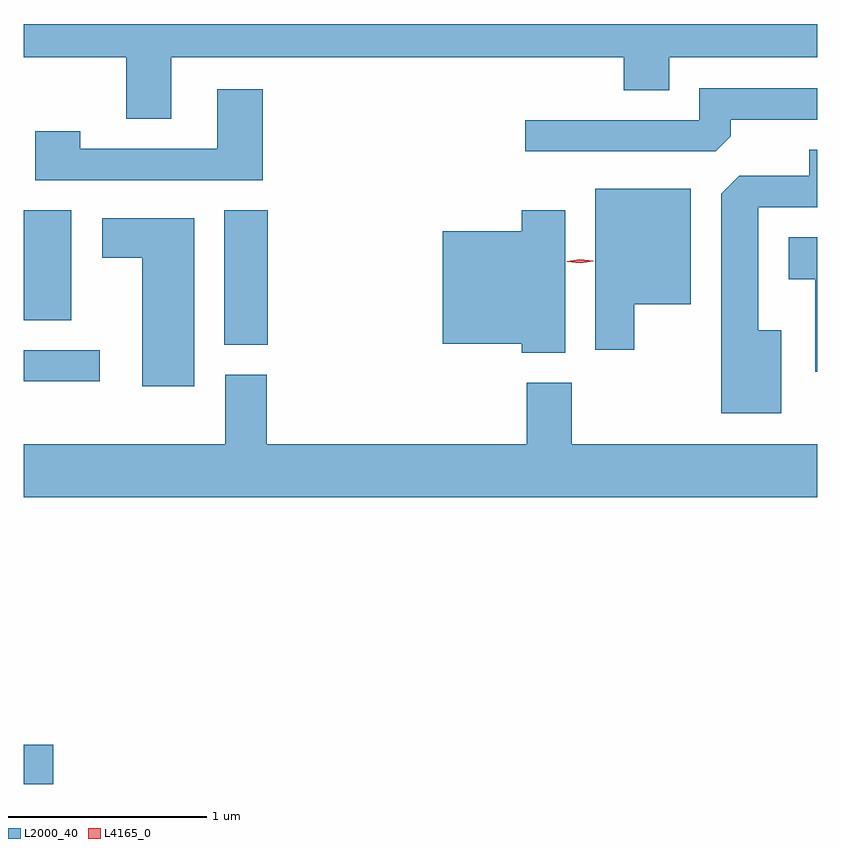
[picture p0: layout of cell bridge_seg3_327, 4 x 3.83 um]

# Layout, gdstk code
import gdstk
lib = gdstk.Library(unit=1e-6, precision=1e-09)
def R(c, l, rs):  # rectangles x0, y0, x1, y1
    for r in rs: c.add(gdstk.rectangle(r[:2], r[2:], *l))
def P(c, l, *ps):  # polygons
    for p in ps: c.add(gdstk.Polygon(p, *l))
L2000_40 = (2000, 40)
L4165_0 = (4165, 0)

bridge_seg3_327 = lib.new_cell('bridge_seg3_327')
R(bridge_seg3_327, L2000_40, [(540.605,1162.311,540.754,1162.509), (540.605,1164.341,540.988,1164.499), (541.616,1164.526,541.834,1165.204), (540.605,1164.651,540.844,1165.204)])
P(bridge_seg3_327, L2000_40, [(540.605,1165.976),(541.121,1165.976),(541.121,1165.666),(541.349,1165.666),(541.349,1165.976),(543.631,1165.976),(543.631,1165.811),(543.859,1165.811),(543.859,1165.976),(544.605,1165.976),(544.605,1166.144),(540.605,1166.144)],
  [(544.169,1165.577),(544.169,1165.661),(544.605,1165.661),(544.605,1165.819),(544.011,1165.819),(544.011,1165.659),(543.133,1165.659),(543.133,1165.501),(544.094,1165.501)],
  [(541.809,1165.814),(541.581,1165.814),(541.581,1165.514),(540.889,1165.514),(540.889,1165.604),(540.661,1165.604),(540.661,1165.356),(541.809,1165.356)],
  [(544.424,1164.599),(544.309,1164.599),(544.309,1165.221),(544.605,1165.221),(544.605,1165.509),(544.566,1165.509),(544.566,1165.379),(544.212,1165.379),(544.121,1165.289),(544.121,1164.181),(544.424,1164.181)],
  [(543.684,1164.731),(543.969,1164.731),(543.969,1165.314),(543.486,1165.314),(543.486,1164.501),(543.684,1164.501)],
  [(543.334,1165.204),(543.116,1165.204),(543.116,1165.099),(542.716,1165.099),(542.716,1164.531),(543.116,1164.531),(543.116,1164.486),(543.334,1164.486)],
  [(541.464,1165.164),(541.001,1165.164),(541.001,1164.966),(541.201,1164.966),(541.201,1164.316),(541.464,1164.316)],
  [(544.605,1165.069),(544.461,1165.069),(544.461,1164.856),(544.596,1164.856),(544.596,1164.391),(544.605,1164.391)],
  [(544.605,1164.024),(543.369,1164.024),(543.369,1164.334),(543.141,1164.334),(543.141,1164.024),(541.829,1164.024),(541.829,1164.374),(541.621,1164.374),(541.621,1164.024),(540.605,1164.024),(540.605,1163.756),(544.605,1163.756)])
P(bridge_seg3_327, L4165_0, [(543.41,1164.938),(543.344,1164.946),(543.343,1164.947),(543.344,1164.947),(543.409,1164.958),(543.476,1164.949),(543.476,1164.949),(543.476,1164.948)])

lib.write_gds('bridge_seg3_327.gds')
